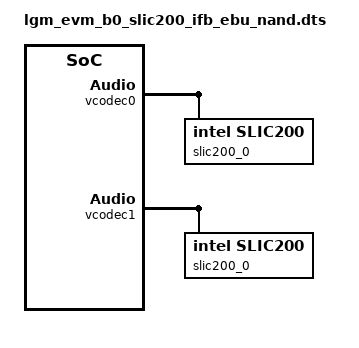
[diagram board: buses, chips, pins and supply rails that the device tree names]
#include "lgm_evm_b0_ebu_nand.dts"

/* Set type of DC/DC converter to IFB12 */
&vcodec0 {
	slic200_0 {
		compatible = "intel,slic200";
		dcdc_type = "IFB";
	};
};

&vcodec1 {
	slic200_0 {
		compatible = "intel,slic200";
		dcdc_type = "IFB";
	};
};
